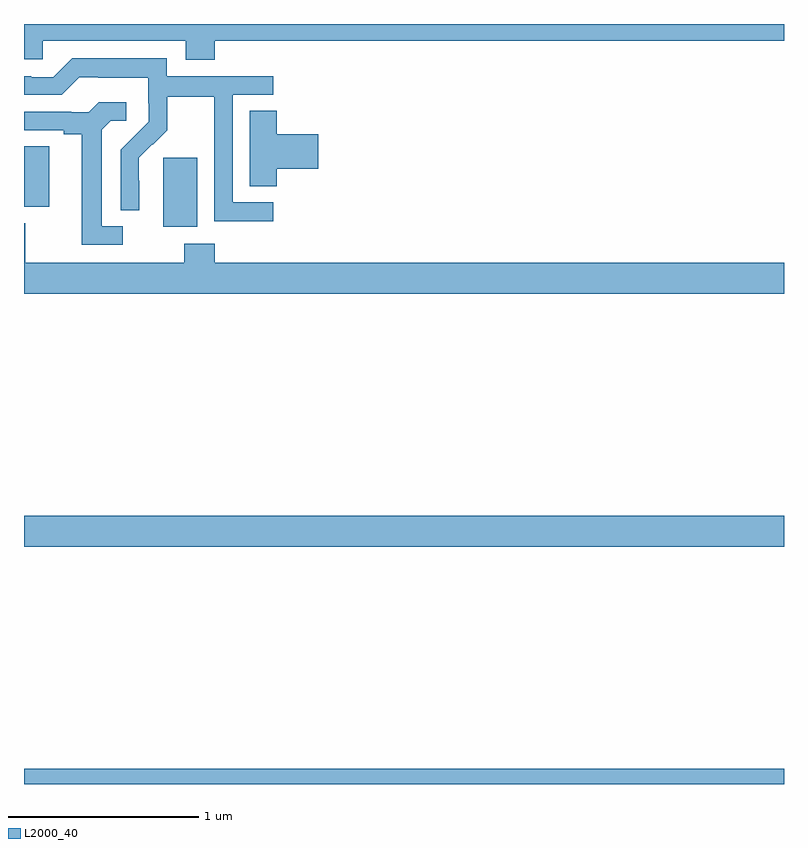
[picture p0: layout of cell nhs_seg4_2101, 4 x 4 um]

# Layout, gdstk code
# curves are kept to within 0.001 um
import gdstk
lib = gdstk.Library(unit=1e-6, precision=1e-09)
def R(c, l, rs):  # rectangles x0, y0, x1, y1
    for r in rs: c.add(gdstk.rectangle(r[:2], r[2:], *l))
def P(c, l, *ps):  # polygons
    for p in ps: c.add(gdstk.Polygon(p, *l))
L2000_40 = (2000, 40)

nhs_seg4_2101 = lib.new_cell('nhs_seg4_2101')
R(nhs_seg4_2101, L2000_40, [(219,800.9,223,800.98), (219,802.148,223,802.312), (219.734,803.834,219.913,804.195), (219,803.937,219.133,804.257)])
P(nhs_seg4_2101, L2000_40, [(220.004,804.812),(223,804.812),(223,804.9),(219,804.9),(219,804.714),(219.099,804.714),(219.099,804.812),(219.851,804.812),(219.851,804.713),(220.004,804.713)],
  [(220.312,803.961),(220.098,803.961),(220.098,804.528),(220.312,804.528),(220.312,804.624),(219.75,804.624),(219.75,804.721),(219.253,804.721),(219.153,804.621),(219.038,804.621),(219.038,804.624),(219,804.624),(219,804.528),(219.198,804.528),(219.291,804.621),(219.391,804.621),(219.391,804.617),(219.654,804.617),(219.654,804.483),(219.656,804.483),(219.656,804.386),(219.51,804.238),(219.51,803.92),(219.606,803.92),(219.605,804.197),(219.675,804.267),(219.678,804.264),(219.755,804.341),(219.755,804.516),(220,804.516),(220,804.292),(220.002,804.292),(220.002,803.863),(220.312,803.863)],
  [(219.52,803.835),(219.409,803.835),(219.409,804.343),(219.456,804.39),(219.538,804.39),(219.538,804.487),(219.394,804.487),(219.342,804.435),(219.248,804.435),(219.248,804.438),(219,804.438),(219,804.342),(219.209,804.342),(219.209,804.32),(219.305,804.32),(219.305,803.739),(219.52,803.739)],
  [(220.331,804.137),(220.549,804.137),(220.549,804.32),(220.331,804.32),(220.331,804.443),(220.187,804.443),(220.187,804.046),(220.331,804.046)],
  [(223,803.644),(220.004,803.644),(220.004,803.743),(219.844,803.743),(219.844,803.644),(219.007,803.644),(219.007,803.852),(219,803.852),(219,803.48),(223,803.48)])

lib.write_gds('nhs_seg4_2101.gds')
